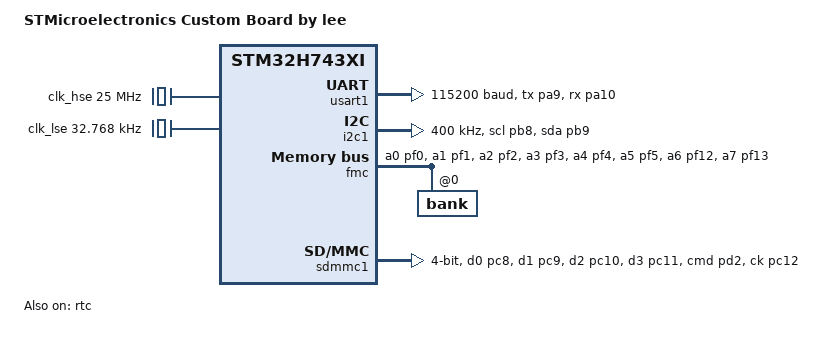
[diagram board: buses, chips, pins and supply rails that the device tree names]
/*
 * Copyright (c) 2020 Teslabs Engineering S.L.
 *
 * SPDX-License-Identifier: Apache-2.0
 */

/dts-v1/;
#include <st/h7/stm32h743Xi.dtsi>
#include <st/h7/stm32h743xihx-pinctrl.dtsi>
#include <zephyr/dt-bindings/input/input-event-codes.h>

/ {
	model = "STMicroelectronics Custom Board by lee";
	compatible = "st,stm32_h743xih6_custom";

	chosen {
		zephyr,console = &usart1;
		zephyr,shell-uart = &usart1;
		zephyr,sram = &sram0;
		zephyr,flash = &flash0;
		zephyr,dtcm = &dtcm;
		zephyr,code-partition = &slot0_partition;
	};

	sdram1: sdram@c0000000 {
		compatible = "zephyr,memory-region", "mmio-sram";
		device_type = "memory";
		reg = <0xc0000000 DT_SIZE_M(32)>;
		zephyr,memory-region = "SDRAM1";
		zephyr,memory-attr = <DT_MEM_ARM(ATTR_MPU_RAM)>;
	};
};

&clk_lsi {
	status = "okay";
};

&clk_hsi48 {
	status = "okay";
};

&clk_hse {
	clock-frequency = <DT_FREQ_M(25)>;
	status = "okay";
};

&clk_lse {
	clock-frequency = <32768>;
	status = "okay";
};

&pll {
	div-m = <5>;
	mul-n = <192>;
	div-p = <2>;
	div-q = <2>;
	div-r = <2>;
	clocks = <&clk_hse>;
	status = "okay";
};

&pll2 {
	div-m = <16>;
	mul-n = <128>;
	div-p = <2>;
	div-q = <2>;
	div-r = <2>;
	clocks = <&clk_hse>;
	status = "okay";
};

&pll3 {
	div-m = <16>;
	mul-n = <128>;
	div-p = <2>;
	div-q = <2>;
	div-r = <2>;
	clocks = <&clk_hse>;
	status = "okay";
};

&rcc {
	clocks = <&pll>;
	clock-frequency = <DT_FREQ_M(480)>;
	d1cpre = <1>;
	hpre = <2>;
	d1ppre = <2>;
	d2ppre1 = <2>;
	d2ppre2 = <2>;
	d3ppre = <2>;
};

&pwr {
	power-supply = "ldo";
};

&dma1 {
	status = "okay";
};

&dma2 {
	status = "okay";
};

&dmamux1 {
	status = "okay";
};

&usart1 {
	pinctrl-0 = <&usart1_tx_pa9 &usart1_rx_pa10>;
	pinctrl-names = "default";
	current-speed = <115200>;
	status = "okay";
};

&i2c1 {
	pinctrl-0 = <&i2c1_scl_pb8 &i2c1_sda_pb9>;
	pinctrl-names = "default";
	clock-frequency = <I2C_BITRATE_FAST>;
	scl-gpios = <&gpiob 8 GPIO_ACTIVE_HIGH>;
	sda-gpios = <&gpiob 9 GPIO_ACTIVE_HIGH>;
	status = "okay";
};

&rtc {
	clocks = <&rcc STM32_CLOCK(APB4, 16)>,
		 <&rcc STM32_SRC_LSE RTC_SEL(1)>;
	status = "okay";
};

&flash0 {
	partitions {
		#address-cells = <1>;
		#size-cells = <1>;
		ranges;

		/* 128KB for bootloader */
		slot0_partition: partition@40000 {
			compatible = "zephyr,mapped-partition";
			label = "image-0";
			reg = <0x00040000 DT_SIZE_K(1792)>;
		};
	};
};

&fmc {
	status = "okay";
	pinctrl-0 = <&fmc_a0_pf0 
	             &fmc_a1_pf1 
				 &fmc_a2_pf2
				 &fmc_a3_pf3
				 &fmc_a4_pf4
				 &fmc_a5_pf5
				 &fmc_a6_pf12
				 &fmc_a7_pf13
				 &fmc_a8_pf14
				 &fmc_a9_pf15
				 &fmc_a10_pg0
				 &fmc_a11_pg1
				 &fmc_a12_pg2
				 &fmc_d0_pd14
				 &fmc_d1_pd15
				 &fmc_d2_pd0
				 &fmc_d3_pd1
				 &fmc_d4_pe7
				 &fmc_d5_pe8
				 &fmc_d6_pe9
				 &fmc_d7_pe10
				 &fmc_d8_pe11
				 &fmc_d9_pe12
				 &fmc_d10_pe13
				 &fmc_d11_pe14
				 &fmc_d12_pe15
				 &fmc_d13_pd8
				 &fmc_d14_pd9
				 &fmc_d15_pd10
				 &fmc_sdnwe_pc0
				 &fmc_sdncas_pg15
				 &fmc_sdnras_pf11
				 &fmc_sdne0_ph3
				 &fmc_a14_pg4
				 &fmc_a15_pg5
				 &fmc_sdcke0_ph2
				 &fmc_sdclk_pg8
				 &fmc_nbl1_pe1
				 &fmc_nbl0_pe0>;
	pinctrl-names = "default";

	sdram {
		status = "okay";
		//파워켜지는데 얼마나 기다려야 하는지
		power-up-delay = <100>;
		//초기 auto refresh 횟수
		num-auto-refresh = <2>;
		//h743은 burst length가 1임. (r/w burst length, read burst랑 다름)
		mode-register = <0x230>;
		//리프레시 요구사항 확인 - Datasheet에서 ms, 횟수 나오는데
		//계산 (ms/횟수) * SDRAM 클럭 주파수 의 반 내림
		// refresh-rate는 refresh를 최소한 refresh-rate 주기로 해야 한다는 것을 나타냄 
		refresh-rate = <917>;

		bank@0 {
			reg = <0>;

			st,sdram-control = <STM32_FMC_SDRAM_NC_9
								STM32_FMC_SDRAM_NR_13
								STM32_FMC_SDRAM_MWID_16
								STM32_FMC_SDRAM_NB_4
								STM32_FMC_SDRAM_CAS_3
								STM32_FMC_SDRAM_SDCLK_PERIOD_2
								STM32_FMC_SDRAM_RBURST_ENABLE
								STM32_FMC_SDRAM_RPIPE_0>;
			st,sdram-timing = <2 8 6 8 2 3 3>;
		};
	};
};

&sdmmc1 {
	pinctrl-0 = <&sdmmc1_d0_pc8
				 &sdmmc1_d1_pc9
				 &sdmmc1_d2_pc10
				 &sdmmc1_d3_pc11
				 &sdmmc1_cmd_pd2
				 &sdmmc1_ck_pc12>;
	pinctrl-names = "default";
	//클럭 sel 참조 -> RCC_D1CCIPR
	clocks = <&rcc STM32_CLOCK(AHB3, 16)>,
			<&rcc STM32_SRC_PLL2_R SDMMC_SEL(1)>;
	//dma 활성
	idma;
	//버스 폭 4비트
	bus-width = <4>;
	//클럭 디바이드 sdmmc_ker_clk/(2[기본 값 2] + 2)
	clk-div = <2>;
	//활성
	status = "okay";
	// 디스크 이름 설정
	disk-name = "SD1";
};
